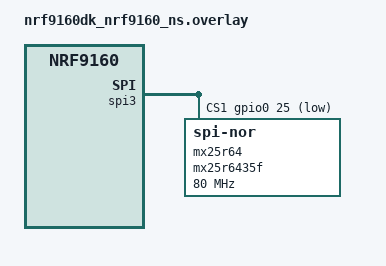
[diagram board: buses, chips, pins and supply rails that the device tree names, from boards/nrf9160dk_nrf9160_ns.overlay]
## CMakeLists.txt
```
#
# Copyright (c) 2021 Nordic Semiconductor ASA
#
# SPDX-License-Identifier: LicenseRef-Nordic-5-Clause
#

cmake_minimum_required(VERSION 3.20.0)

find_package(Zephyr REQUIRED HINTS $ENV{ZEPHYR_BASE})
project(full_modem_update)

# NORDIC SDK APP START
target_sources(app PRIVATE src/main.c)
# NORDIC SDK APP END
```

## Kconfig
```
#
# Copyright (c) 2021 Nordic Semiconductor ASA
#
# SPDX-License-Identifier: LicenseRef-Nordic-5-Clause
#

menu "HTTP full modem update sample"

config USE_HTTPS
	bool
	prompt "Use HTTPS for download"

config DOWNLOAD_HOST
	string "Modem firmware host name"
	help
	  Host part of URL to two modem firmwares. For example, the value of
	  this configuration should be 'http://foo.bar/' if the file is stored
	  in http://foo.bar/mfu_0.bin

config DOWNLOAD_MODEM_0_FILE
	string "Modem firmware 0 file name"
	help
	  File part of URL to the first of two modem firmwares. For example,
	  the value of this configuration should be 'mfu_0.bin' if the file
	  is stored in http://foo.bar/mfu_0.bin.

config DOWNLOAD_MODEM_0_VERSION
	string "Version string of modem firmware 0"
	help
	  This value is used to ensure that the sample does not download
	  the same modem firmware as what is already installed in the modem.
	  This is typically found in the file name of the ZIP which
	  contains the modem firmware, e.g. 'mfw_nrf9160_1.2.1'.

config DOWNLOAD_MODEM_1_FILE
	string "Modem firmware 1 file name"
	help
	  File part of URL to the second of two modem firmwares. For example,
	  the value of this configuration should be 'mfu_1.bin' if the file
	  is stored in http://foo.bar/mfu_1.bin.

endmenu

menu "Zephyr Kernel"
source "Kconfig.zephyr"
endmenu
```

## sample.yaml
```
sample:
  name: HTTP full modem update sample
tests:
  sample.cellular.http_update.full_modem_update:
    sysbuild: true
    build_only: true
    integration_platforms:
      - nrf9151dk/nrf9151/ns
      - nrf9160dk/nrf9160/ns
      - nrf9161dk/nrf9161/ns
    platform_allow:
      - nrf9151dk/nrf9151/ns
      - nrf9160dk/nrf9160/ns
      - nrf9161dk/nrf9161/ns
    tags:
      - ci_build
      - sysbuild
      - ci_samples_cellular
```

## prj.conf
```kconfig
#
# Copyright (c) 2021 Nordic Semiconductor ASA
#
# SPDX-License-Identifier: LicenseRef-Nordic-5-Clause
#
# General config
CONFIG_NCS_SAMPLES_DEFAULTS=y
CONFIG_REBOOT=y
CONFIG_NEWLIB_LIBC=y

CONFIG_NET_IPV4=y

# Network
CONFIG_NETWORKING=y
CONFIG_NET_SOCKETS=y
CONFIG_NET_NATIVE=n

# LTE link control
CONFIG_LTE_LINK_CONTROL=y

# libmodem
CONFIG_NRF_MODEM_LIB=y

# Library for buttons and LEDs
CONFIG_DK_LIBRARY=y

# Heap and stacks
CONFIG_HEAP_MEM_POOL_SIZE=2048
CONFIG_MAIN_STACK_SIZE=8192
CONFIG_SYSTEM_WORKQUEUE_STACK_SIZE=2048

# Shell configurations
CONFIG_SHELL=y
CONFIG_SHELL_WILDCARD=n
CONFIG_SHELL_CMD_BUFF_SIZE=128

# Stream flash
CONFIG_STREAM_FLASH=y
CONFIG_STREAM_FLASH_ERASE=y
CONFIG_FLASH=y

# GPIO
CONFIG_GPIO=y

# FOTA library
CONFIG_FOTA_DOWNLOAD=y

# Download client
CONFIG_DOWNLOADER=y
CONFIG_DOWNLOADER_STACK_SIZE=4096

# DFU Target
CONFIG_DFU_TARGET=y
CONFIG_DFU_TARGET_STREAM=y
CONFIG_DFU_TARGET_FULL_MODEM=y

# Full modem firmware from external flash support
CONFIG_FMFU_FDEV=y
CONFIG_ZCBOR=y

# Modem key management
CONFIG_MODEM_KEY_MGMT=y

# Modem info is used to read the current version
CONFIG_MODEM_INFO=y

# Crypto
CONFIG_OBERON_BACKEND=y
CONFIG_NORDIC_SECURITY_BACKEND=y
# Disable all non-used crypto
CONFIG_MBEDTLS_AES_C=n
CONFIG_MBEDTLS_CHACHA20_C=n
CONFIG_MBEDTLS_POLY1305_C=n
CONFIG_MBEDTLS_ECP_C=n
CONFIG_MBEDTLS_RSA_C=n
CONFIG_MBEDTLS_DHM_C=n
CONFIG_MBEDTLS_SHA1_C=n
CONFIG_MBEDTLS_SHA384_C=n
CONFIG_MBEDTLS_SHA512_C=n
CONFIG_MBEDTLS_GCM_C=n
# This is the one we need
CONFIG_MBEDTLS_SHA256_C=y

CONFIG_DOWNLOAD_HOST="nrfconnectsdk.s3.eu-central-1.amazonaws.com"

# Prevalidation is not yet supported by the modem firmware, so skip it for now.
CONFIG_FMFU_FDEV_SKIP_PREVALIDATION=y
```

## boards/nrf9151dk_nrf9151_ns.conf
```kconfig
# Copyright (c) 2024 Nordic Semiconductor ASA
#
# SPDX-License-Identifier: LicenseRef-Nordic-5-Clause
#

CONFIG_SPI=y
CONFIG_SPI_NOR=y

# Modem firmware version configuration
CONFIG_DOWNLOAD_MODEM_0_FILE="fmfu_2.0.0.cbor"
CONFIG_DOWNLOAD_MODEM_0_VERSION="mfw_nrf91x1_2.0.0"

CONFIG_DOWNLOAD_MODEM_1_FILE="fmfu_2.0.1.cbor"
```

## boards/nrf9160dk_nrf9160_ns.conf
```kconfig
# Copyright (c) 2021-2023 Nordic Semiconductor ASA
#
# SPDX-License-Identifier: LicenseRef-Nordic-5-Clause
#

CONFIG_SPI=y
CONFIG_SPI_NOR=y

# Modem firmware version configuration
CONFIG_DOWNLOAD_MODEM_0_FILE="fmfu_1.3.5.cbor"
CONFIG_DOWNLOAD_MODEM_0_VERSION="mfw_nrf9160_1.3.5"

CONFIG_DOWNLOAD_MODEM_1_FILE="fmfu_1.3.6.cbor"
```

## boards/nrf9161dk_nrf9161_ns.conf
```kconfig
# Copyright (c) 2021-2024 Nordic Semiconductor ASA
#
# SPDX-License-Identifier: LicenseRef-Nordic-5-Clause
#

CONFIG_SPI=y
CONFIG_SPI_NOR=y

# Modem firmware version configuration
CONFIG_DOWNLOAD_MODEM_0_FILE="fmfu_2.0.0.cbor"
CONFIG_DOWNLOAD_MODEM_0_VERSION="mfw_nrf91x1_2.0.0"

CONFIG_DOWNLOAD_MODEM_1_FILE="fmfu_2.0.1.cbor"
```

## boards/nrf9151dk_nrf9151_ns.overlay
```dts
/*
 * Copyright (c) 2024 Nordic Semiconductor ASA
 *
 * SPDX-License-Identifier: LicenseRef-Nordic-5-Clause
 */

&gd25wb256 {
	status = "okay";
};
```

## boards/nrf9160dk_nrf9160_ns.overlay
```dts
/*
 * Copyright (c) 2022 Nordic Semiconductor ASA
 *
 * SPDX-License-Identifier: LicenseRef-Nordic-5-Clause
 */

&spi3 {
	cs-gpios = <&arduino_header 16 GPIO_ACTIVE_LOW>, /* D10 */
		   <&gpio0 25 GPIO_ACTIVE_LOW>;
	mx25r64: mx25r6435f@1 {
		compatible = "jedec,spi-nor";
		reg = <1>;
		status = "okay";
		spi-max-frequency = <80000000>;
		jedec-id = [c2 28 17];
		size = <67108864>;
	};
};
```

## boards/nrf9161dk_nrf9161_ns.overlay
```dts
/*
 * Copyright (c) 2023 Nordic Semiconductor ASA
 *
 * SPDX-License-Identifier: LicenseRef-Nordic-5-Clause
 */

&gd25wb256 {
	status = "okay";
};
```

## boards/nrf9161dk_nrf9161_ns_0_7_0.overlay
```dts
/*
 * Copyright (c) 2023 Nordic Semiconductor ASA
 *
 * SPDX-License-Identifier: LicenseRef-Nordic-5-Clause
 */

/delete-node/ &gd25wb256;

/ {
	aliases {
		ext-flash = &gd25lb256;
	};
};

&gd25lb256 {
	status = "okay";
};
```

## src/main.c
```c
/*
 * Copyright (c) 2021-2023 Nordic Semiconductor ASA
 *
 * SPDX-License-Identifier: LicenseRef-Nordic-5-Clause
 */
#include <stdio.h>
#include <string.h>
#include <zephyr/kernel.h>
#include <zephyr/drivers/flash.h>
#include <zephyr/toolchain.h>
#include <zephyr/net/socket.h>
#include <zephyr/sys/reboot.h>
#include <zephyr/shell/shell.h>
#include <zephyr/drivers/gpio.h>
#include <zephyr/device.h>
#include <zephyr/devicetree.h>

#include <dfu/dfu_target_full_modem.h>
#include <dfu/fmfu_fdev.h>
#include <nrf_errno.h>
#include <nrf_socket.h>
#include <nrf_modem_bootloader.h>
#include <modem/nrf_modem_lib.h>
#include <modem/modem_info.h>
#include <modem/lte_lc.h>
#include <modem/modem_key_mgmt.h>
#include <net/fota_download.h>

#define TLS_SEC_TAG 42

#ifdef CONFIG_USE_HTTPS
#define SEC_TAG (TLS_SEC_TAG)
#else
#define SEC_TAG (-1)
#endif

/* We assume that modem version strings (not UUID) will not be more than this. */
#define MAX_MODEM_VERSION_LEN 256
static char modem_version[MAX_MODEM_VERSION_LEN];

enum fota_state { IDLE, CONNECTED, UPDATE_DOWNLOAD, UPDATE_PENDING, UPDATE_APPLY, ERROR };
static enum fota_state state = IDLE;

static const struct device *flash_dev = DEVICE_DT_GET_ONE(jedec_spi_nor);
static const struct gpio_dt_spec led0 = GPIO_DT_SPEC_GET(DT_ALIAS(led0), gpios);
static const struct gpio_dt_spec led1 = GPIO_DT_SPEC_GET(DT_ALIAS(led1), gpios);
static const struct gpio_dt_spec sw0 = GPIO_DT_SPEC_GET(DT_ALIAS(sw0), gpios);
static const struct gpio_dt_spec sw1 = GPIO_DT_SPEC_GET(DT_ALIAS(sw1), gpios);
static struct gpio_callback sw0_cb;
static struct gpio_callback sw1_cb;
static struct k_work fota_work;

static void fota_work_cb(struct k_work *work);
static int apply_state(enum fota_state new_state);
static int modem_configure_and_connect(void);

/* Buffer used as temporary storage when downloading the modem firmware, and
 * when loading the modem firmware from external flash to the modem.
 */
#define FMFU_BUF_SIZE (0x1000)
static uint8_t fmfu_buf[FMFU_BUF_SIZE];

BUILD_ASSERT(strlen(CONFIG_DOWNLOAD_MODEM_0_VERSION), "CONFIG_DOWNLOAD_MODEM_0_VERSION not set");
BUILD_ASSERT(strlen(CONFIG_DOWNLOAD_MODEM_0_FILE), "CONFIG_DOWNLOAD_MODEM_0_FILE not set");
BUILD_ASSERT(strlen(CONFIG_DOWNLOAD_MODEM_1_FILE), "CONFIG_DOWNLOAD_MODEM_1_FILE not set");

static bool current_version_is_0(void)
{
	return strncmp(modem_version, CONFIG_DOWNLOAD_MODEM_0_VERSION,
		       strlen(CONFIG_DOWNLOAD_MODEM_0_VERSION)) == 0;
}

static void lte_lc_handler(const struct lte_lc_evt *const evt)
{
	static bool connected;

	switch (evt->type) {
	case LTE_LC_EVT_NW_REG_STATUS:
		if ((evt->nw_reg_status != LTE_LC_NW_REG_REGISTERED_HOME) &&
		    (evt->nw_reg_status != LTE_LC_NW_REG_REGISTERED_ROAMING)) {
			if (!connected) {
				break;
			}

			printk("LTE network is disconnected.\n");
			connected = false;
			if (state == CONNECTED) {
				apply_state(IDLE);
			}
			break;
		}

		connected = true;

		if (state == IDLE) {
			printk("LTE Link Connected!\n");
			apply_state(CONNECTED);
		}
		break;
	default:
		break;
	}
}

static void dfu_download_btn_irq_enable(void)
{
	gpio_pin_interrupt_configure_dt(&sw0, GPIO_INT_EDGE_TO_ACTIVE);
}

static void dfu_download_btn_irq_disable(void)
{
	gpio_pin_interrupt_configure_dt(&sw0, GPIO_INT_DISABLE);
}

void dfu_download_btn_pressed(const struct device *gpiob, struct gpio_callback *cb, uint32_t pins)
{
	if (state != CONNECTED) {
		return;
	}

	apply_state(UPDATE_DOWNLOAD);
}

static void dfu_apply_btn_irq_disable(void)
{
	gpio_pin_interrupt_configure_dt(&sw1, GPIO_INT_DISABLE);
}

static void dfu_apply_btn_irq_enable(void)
{
	gpio_pin_interrupt_configure_dt(&sw1, GPIO_INT_EDGE_TO_ACTIVE);
}

void dfu_apply_btn_pressed(const struct device *gpiob, struct gpio_callback *cb, uint32_t pins)
{
	if (state != IDLE && state != CONNECTED && state != UPDATE_PENDING) {
		return;
	}

	apply_state(UPDATE_APPLY);
}

static int button_init(void)
{
	int err;

	if (!device_is_ready(sw0.port)) {
		printk("SW0 GPIO port device not ready\n");
		return -ENODEV;
	}

	if (!device_is_ready(sw1.port)) {
		printk("SW1 GPIO port not ready\n");
		return -ENODEV;
	}

	err = gpio_pin_configure_dt(&sw0, GPIO_INPUT);
	if (err < 0) {
		return err;
	}

	err = gpio_pin_configure_dt(&sw1, GPIO_INPUT);
	if (err < 0) {
		return err;
	}

	gpio_init_callback(&sw0_cb, dfu_download_btn_pressed, BIT(sw0.pin));
	gpio_init_callback(&sw1_cb, dfu_apply_btn_pressed, BIT(sw1.pin));

	err = gpio_add_callback(sw0.port, &sw0_cb);
	if (err < 0) {
		printk("Unable to configure SW0 GPIO pin!\n");
		return err;
	}

	err = gpio_add_callback(sw1.port, &sw1_cb);
	if (err < 0) {
		printk("Unable to configure SW1 GPIO pin!\n");
		return err;
	}

	return 0;
}

static int leds_init(void)
{
	if (!device_is_ready(led0.port)) {
		printk("Led0 GPIO port not ready\n");
		return -ENODEV;
	}

	if (!device_is_ready(led1.port)) {
		printk("Led1 GPIO port not ready\n");
		return -ENODEV;
	}

	return 0;
}

static int leds_set(int num)
{
	switch (num) {
	case 0:
		gpio_pin_configure_dt(&led0, GPIO_OUTPUT_INACTIVE);
		gpio_pin_configure_dt(&led1, GPIO_OUTPUT_INACTIVE);
		break;
	case 1:
		gpio_pin_configure_dt(&led0, GPIO_OUTPUT_ACTIVE);
		gpio_pin_configure_dt(&led1, GPIO_OUTPUT_INACTIVE);
		break;
	case 2:
		gpio_pin_configure_dt(&led0, GPIO_OUTPUT_ACTIVE);
		gpio_pin_configure_dt(&led1, GPIO_OUTPUT_ACTIVE);
		break;
	default:
		return -EINVAL;
	}
	return 0;
}

static void current_version_display(void)
{
	int err;
	int num_leds;

	err = modem_info_string_get(MODEM_INFO_FW_VERSION, modem_version,
			      MODEM_INFO_MAX_RESPONSE_SIZE);
	if (err < 0) {
		printk("Failed to get modem version\n");
		return;
	}

	printk("Current modem firmware version: %s\n", modem_version);

	num_leds = current_version_is_0() ? 1 : 2;
	leds_set(num_leds);
}

static int apply_state(enum fota_state new_state)
{
	__ASSERT(state != new_state, "State already set: %d", state);

	state = new_state;

	switch (new_state) {
	case IDLE:
		dfu_download_btn_irq_disable();
		dfu_apply_btn_irq_enable();
		modem_configure_and_connect();
		break;
	case CONNECTED:
		dfu_download_btn_irq_enable();
		dfu_apply_btn_irq_enable();
		printk("Press Button 1 or enter 'download' to download firmware update\n");
		printk("Press Button 2 or enter 'apply' to apply modem firmware update "
		       "from flash\n");
		break;
	case UPDATE_DOWNLOAD:
		dfu_download_btn_irq_disable();
		dfu_apply_btn_irq_disable();
		k_work_submit(&fota_work);
		break;
	case UPDATE_PENDING:
		dfu_apply_btn_irq_enable();
		printk("Press Button 2 or enter 'apply' to apply modem firmware update "
		       "from flash\n");
		break;
	case UPDATE_APPLY:
		dfu_download_btn_irq_disable();
		dfu_apply_btn_irq_disable();
		k_work_submit(&fota_work);
		break;
	case ERROR:
		break;
	}

	return 0;
}

static int apply_fmfu_from_ext_flash(void)
{
	int err;

	printk("Applying full modem firmware update from external flash\n");

	err = lte_lc_offline();
	if (err) {
		printk("Failed to disconnect LTE.");
		return err;
	}

	err = nrf_modem_lib_shutdown();
	if (err != 0) {
		printk("nrf_modem_lib_shutdown() failed: %d\n", err);
		return err;
	}


	err = nrf_modem_lib_bootloader_init();
	if (err != 0) {
		printk("nrf_modem_lib_bootloader_init() failed: %d\n", err);
		goto reinit;
	}

	err = fmfu_fdev_load(fmfu_buf, sizeof(fmfu_buf), flash_dev, 0);
	if (err != 0) {
		printk("fmfu_fdev_load failed: %d\n", err);
		nrf_modem_lib_shutdown();
		goto reinit;
	}

	err = nrf_modem_lib_shutdown();
	if (err != 0) {
		printk("nrf_modem_lib_shutdown() failed: %d\n", err);
		goto reinit;
	}

	printk("Modem firmware update completed, reinitializing in normal mode\n");

reinit:
	err = nrf_modem_lib_init();
	if (err) {
		printk("Modem library initialization failed, err %d\n", err);
		switch (err) {
		case -NRF_EPERM:
			printk("Modem is already initialized");
			break;
		default:
			printk("Reprogram the full modem firmware to recover\n");
			apply_state(UPDATE_PENDING);
			return err;
		}
	}

	current_version_display();

	return err;
}

#if defined(CONFIG_USE_HTTPS)
static int cert_provision(void)
{
	static const char cert[] = {
		#include "../cert/AmazonRootCA1"
	};
	BUILD_ASSERT(sizeof(cert) < KB(4), "Certificate too large");

	int err;
	bool exists;

	err = modem_key_mgmt_exists(TLS_SEC_TAG,
				    MODEM_KEY_MGMT_CRED_TYPE_CA_CHAIN, &exists);
	if (err) {
		printk("Failed to check for certificates err %d\n", err);
		return err;
	}

	if (exists) {
		/* For the sake of simplicity we delete what is provisioned
		 * with our security tag and reprovision our certificate.
		 */
		err = modem_key_mgmt_delete(TLS_SEC_TAG,
					    MODEM_KEY_MGMT_CRED_TYPE_CA_CHAIN);
		if (err) {
			printk("Failed to delete existing certificate, err %d\n",
			       err);
		}
	}

	printk("Provisioning certificate\n");

	/*  Provision certificate to the modem */
	err = modem_key_mgmt_write(TLS_SEC_TAG,
				   MODEM_KEY_MGMT_CRED_TYPE_CA_CHAIN, cert,
				   sizeof(cert) - 1);
	if (err) {
		printk("Failed to provision certificate, err %d\n", err);
		return err;
	}

	return 0;
}
#endif /* defined(CONFIG_USE_HTTPS) */

/**
 * @brief Configures modem to provide LTE link.
 */
static int modem_configure_and_connect(void)
{
	int err;

#if defined(CONFIG_USE_HTTPS)
	err = cert_provision();
	if (err) {
		printk("Could not provision root CA to %d", TLS_SEC_TAG);
		return err;
	}

#endif /* CONFIG_USE_HTTPS */

	printk("LTE Link Connecting ...\n");
	err = lte_lc_connect_async(lte_lc_handler);
	if (err) {
		printk("LTE link could not be established.");
		return err;
	}

	return 0;
}

void fota_dl_handler(const struct fota_download_evt *evt)
{
	switch (evt->id) {
	case FOTA_DOWNLOAD_EVT_ERROR:
		printk("Received error from fota_download\n");
		apply_state(CONNECTED);
		break;
	case FOTA_DOWNLOAD_EVT_FINISHED:
		apply_state(UPDATE_PENDING);
		break;

	default:
		break;
	}
}

static int update_download(void)
{
	int err;
	const char *file;
	int sec_tag = SEC_TAG;
	uint8_t sec_tag_count = sec_tag < 0 ? 0 : 1;
	const struct dfu_target_full_modem_params params = {
		.buf = fmfu_buf,
		.len = sizeof(fmfu_buf),
		.dev = &(struct dfu_target_fmfu_fdev){
			.dev = flash_dev,
			.offset = 0,
			.size = 0
		}
	};

	err = fota_download_init(fota_dl_handler);
	if (err != 0) {
		printk("fota_download_init() failed, err %d\n", err);
		return err;
	}

	err = dfu_target_full_modem_cfg(&params);
	if (err != 0 && err != -EALREADY) {
		printk("dfu_target_full_modem_cfg failed: %d\n", err);
		return err;
	}

	err = modem_info_string_get(MODEM_INFO_FW_VERSION, modem_version,
				    MODEM_INFO_MAX_RESPONSE_SIZE);
	if (err < 0) {
		printk("Failed to get modem version\n");
		return err;
	}

	file = CONFIG_DOWNLOAD_MODEM_0_FILE;

	if (current_version_is_0()) {
		file = CONFIG_DOWNLOAD_MODEM_1_FILE;
	}

	err = fota_download(CONFIG_DOWNLOAD_HOST, file, &sec_tag, sec_tag_count, 0, 0,
			      DFU_TARGET_IMAGE_TYPE_FULL_MODEM);
	if (err != 0) {
		printk("fota_download() failed, err %d\n", err);
		return err;
	}

	return 0;
}

static int shell_download(const struct shell *shell, size_t argc, char **argv)
{
	int err;

	ARG_UNUSED(argc);
	ARG_UNUSED(argv);

	err = apply_state(UPDATE_DOWNLOAD);
	if (err) {
		printk("Could not start download, err %d\n", err);
		return err;
	}

	return 0;
}

static int shell_apply(const struct shell *shell, size_t argc, char **argv)
{
	int err;

	ARG_UNUSED(argc);
	ARG_UNUSED(argv);

	err = apply_state(UPDATE_APPLY);
	if (err) {
		printk("Could not start fota, err %d\n", err);
		return err;
	}

	return 0;
}

SHELL_CMD_REGISTER(download, NULL, "Download modem DFU", shell_download);
SHELL_CMD_REGISTER(apply, NULL, "Apply modem DFU", shell_apply);

static void fota_work_cb(struct k_work *work)
{
	int err;

	ARG_UNUSED(work);

	switch (state) {
	case UPDATE_DOWNLOAD:
		dfu_target_full_modem_reset();
		err = update_download();
		if (err) {
			printk("Download failed, err %d\n", err);
			apply_state(CONNECTED);
		}
		break;
	case UPDATE_APPLY:
		err = apply_fmfu_from_ext_flash();
		if (err) {
			printk("FMFU failed, err %d\n", err);
		}

		apply_state(IDLE);
		break;
	default:
		break;
	}
}

int main(void)
{
	int err;

	printk("HTTP full modem update sample started\n");

	if (!device_is_ready(flash_dev)) {
		printk("Flash device %s not ready\n", flash_dev->name);
		return -ENODEV;
	}

	k_work_init(&fota_work, fota_work_cb);

	err = button_init();
	if (err != 0) {
		printk("button_init() failed: %d\n", err);
		return err;
	}

	err = leds_init();
	if (err != 0) {
		printk("leds_init() failed: %d\n", err);
		return err;
	}

	err = nrf_modem_lib_init();
	if (err) {
		printk("Modem initialization failed, err %d\n", err);
		switch (err) {
		case -NRF_EPERM:
			printk("Modem is already initialized");
			break;
		default:
			printk("Failed to initialize modem lib, err: %d\n", err);
			printk("This could indicate that an earlier update failed\n");
			printk("Reprogram the full modem firmware to recover\n");
			apply_state(UPDATE_PENDING);
			return err;
		}
	}

	err = modem_info_init();
	if (err != 0) {
		printk("modem_info_init failed: %d\n", err);
		return err;
	}

	current_version_display();

	err = modem_configure_and_connect();
	if (err) {
		printk("Modem configuration failed: %d\n", err);
		return err;
	}

	dfu_apply_btn_irq_enable();

	return 0;
}
```
